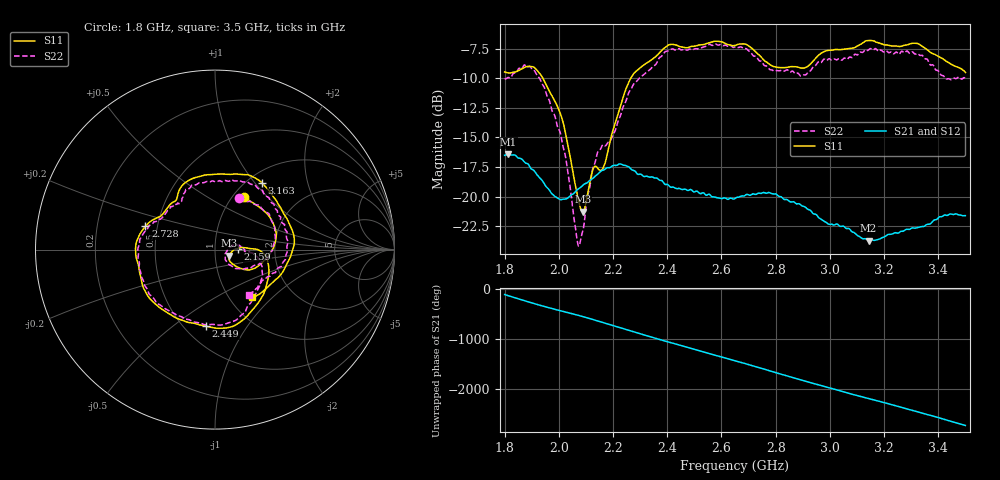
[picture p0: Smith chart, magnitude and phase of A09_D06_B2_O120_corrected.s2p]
! Created with skrf 1.9.0 (http://scikit-rf.org).
# Hz S RI R 50.0
!freq ReS11 ImS11 ReS21 ImS21 ReS12 ImS12 ReS22 ImS22
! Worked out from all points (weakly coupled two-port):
!   1601 points, 1.8 GHz to 3.5 GHz, reference 50 ohm
!   highest |S21| = -16.43 dB at 1.814 GHz (marker M1); lowest = -23.7 dB at 3.143 GHz (marker M2)
!   lowest |S11| = -21.3 dB at 2.088 GHz (marker M3), VSWR 1.19, Z = 58.5 - j3.89 ohm
!   |S11| at or under -10 dB: 1.942 GHz to 2.265 GHz (323.5 MHz wide, 15.4 % of centre)
!   |S22| runs from -24.2 to -7.1 dB; largest |S21 - S12| = 0.0025
!   S11 on the Smith chart (normalised r, x): 1.8 GHz: 1.12, +0.75; 2.159 GHz: 1.30, +0.01; 2.449 GHz: 0.64, -0.67; 2.728 GHz: 0.43, +0.13; 3.163 GHz: 1.15, +1.09; 3.5 GHz: 1.27, -0.76
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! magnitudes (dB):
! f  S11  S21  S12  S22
! 1.8 GHz  -9.5  -16.5  -16.5  -10.0
! 1.814 GHz  -9.5  -16.4  -16.4  -9.9
! 1.88 GHz  -9.0  -17.2  -17.2  -9.0
! 1.941 GHz  -10.0  -18.7  -18.7  -10.6
! 2.011 GHz  -13.4  -20.2  -20.2  -15.3
! 2.067 GHz  -19.7  -19.4  -19.5  -23.6
! 2.084 GHz  -21.2  -19.2  -19.1  -23.3
! 2.088 GHz  -21.3  -19.1  -19.1  -23.0
! 2.127 GHz  -17.6  -18.4  -18.4  -17.5
! 2.159 GHz  -17.7  -17.8  -17.7  -15.7
! 2.261 GHz  -10.2  -17.5  -17.6  -11.1
! 2.367 GHz  -7.9  -18.5  -18.5  -8.4
! 2.449 GHz  -7.3  -19.4  -19.3  -7.6
! 2.65 GHz  -7.2  -20.2  -20.1  -7.3
! 2.728 GHz  -7.8  -19.8  -19.8  -8.1
! 2.805 GHz  -9.1  -19.9  -19.9  -9.3
! 2.934 GHz  -8.6  -21.3  -21.3  -9.2
! 3.143 GHz  -6.8  -23.7  -23.6  -7.6
! 3.163 GHz  -6.8  -23.7  -23.7  -7.5
! 3.217 GHz  -7.2  -23.2  -23.2  -7.8
! 3.324 GHz  -7.1  -22.6  -22.6  -7.9
! 3.5 GHz  -9.5  -21.6  -21.6  -10.0
